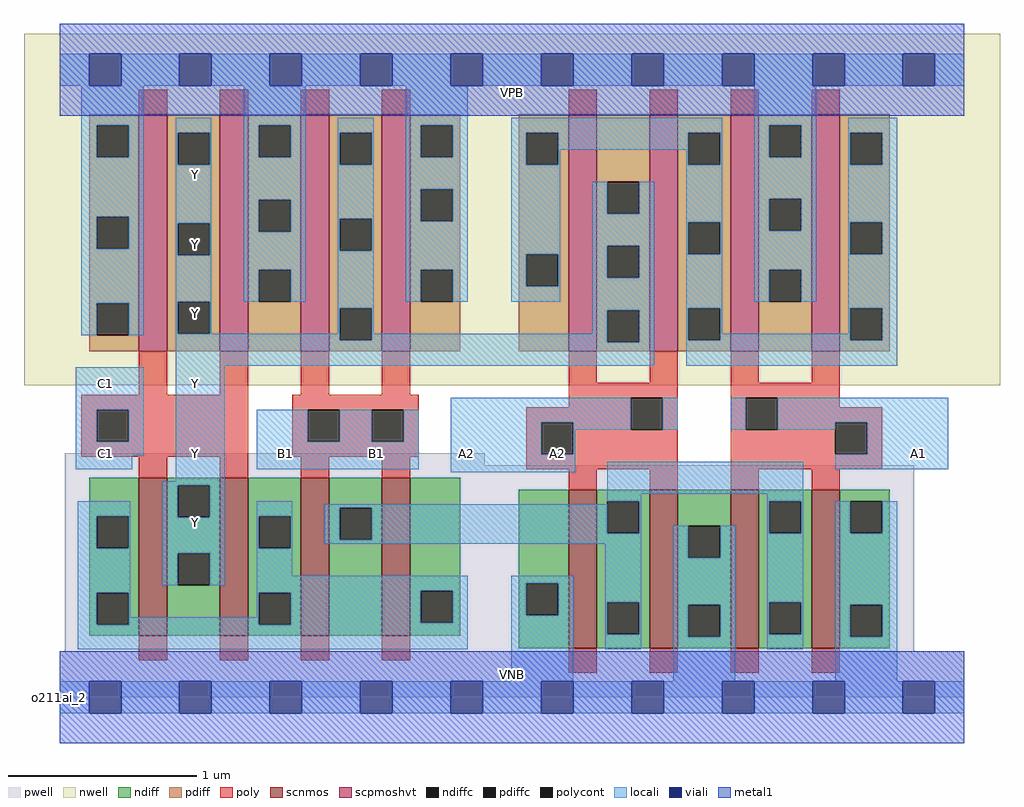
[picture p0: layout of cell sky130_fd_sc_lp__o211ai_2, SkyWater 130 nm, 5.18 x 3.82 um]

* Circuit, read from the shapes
.subckt sky130_fd_sc_lp__o211ai_2 A1 A2 B1 C1 VGND VNB VPB VPWR Y
XM1 Y C1 n1 VNB sky130_fd_pr__nfet_01v8 w=0.84 l=0.15 m=2
XM2 n2 B1 n1 VNB sky130_fd_pr__nfet_01v8 w=0.84 l=0.15 m=2
XM3 n2 A2 VGND VNB sky130_fd_pr__nfet_01v8 w=0.84 l=0.15 m=2
XM4 n2 A1 VGND VNB sky130_fd_pr__nfet_01v8 w=0.84 l=0.15 m=2
XM5 Y C1 VPWR VPB sky130_fd_pr__pfet_01v8_hvt w=1.26 l=0.15 m=2
XM6 Y B1 VPWR VPB sky130_fd_pr__pfet_01v8_hvt w=1.26 l=0.15 m=2
XM7 Y A2 n3 VPB sky130_fd_pr__pfet_01v8_hvt w=1.26 l=0.15 m=2
XM8 VPWR A1 n3 VPB sky130_fd_pr__pfet_01v8_hvt w=1.26 l=0.15 m=2
.ends

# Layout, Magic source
magic
tech sky130A
magscale 1 2
<< nwell >>
rect -38 331 998 704
<< pwell >>
rect 5 246 451 259
rect 5 49 907 246
rect 0 0 960 49
<< scnmos >>
rect 84 65 114 233
rect 170 65 200 233
rect 256 65 286 233
rect 342 65 372 233
rect 540 52 570 220
rect 626 52 656 220
rect 712 52 742 220
rect 798 52 828 220
<< scpmoshvt >>
rect 84 367 114 619
rect 170 367 200 619
rect 256 367 286 619
rect 342 367 372 619
rect 540 367 570 619
rect 626 367 656 619
rect 712 367 742 619
rect 798 367 828 619
<< ndiff >>
rect 31 192 84 233
rect 31 158 39 192
rect 73 158 84 192
rect 31 111 84 158
rect 31 77 39 111
rect 73 77 84 111
rect 31 65 84 77
rect 114 225 170 233
rect 114 191 125 225
rect 159 191 170 225
rect 114 153 170 191
rect 114 119 125 153
rect 159 119 170 153
rect 114 65 170 119
rect 200 192 256 233
rect 200 158 211 192
rect 245 158 256 192
rect 200 111 256 158
rect 200 77 211 111
rect 245 77 256 111
rect 200 65 256 77
rect 286 201 342 233
rect 286 167 297 201
rect 331 167 342 201
rect 286 65 342 167
rect 372 113 425 233
rect 372 79 383 113
rect 417 79 425 113
rect 372 65 425 79
rect 487 121 540 220
rect 487 87 495 121
rect 529 87 540 121
rect 487 52 540 87
rect 570 208 626 220
rect 570 174 581 208
rect 615 174 626 208
rect 570 101 626 174
rect 570 67 581 101
rect 615 67 626 101
rect 570 52 626 67
rect 656 182 712 220
rect 656 148 667 182
rect 701 148 712 182
rect 656 98 712 148
rect 656 64 667 98
rect 701 64 712 98
rect 656 52 712 64
rect 742 208 798 220
rect 742 174 753 208
rect 787 174 798 208
rect 742 101 798 174
rect 742 67 753 101
rect 787 67 798 101
rect 742 52 798 67
rect 828 208 881 220
rect 828 174 839 208
rect 873 174 881 208
rect 828 98 881 174
rect 828 64 839 98
rect 873 64 881 98
rect 828 52 881 64
<< pdiff >>
rect 31 607 84 619
rect 31 573 39 607
rect 73 573 84 607
rect 31 510 84 573
rect 31 476 39 510
rect 73 476 84 510
rect 31 418 84 476
rect 31 384 39 418
rect 73 384 84 418
rect 31 367 84 384
rect 114 599 170 619
rect 114 565 125 599
rect 159 565 170 599
rect 114 503 170 565
rect 114 469 125 503
rect 159 469 170 503
rect 114 420 170 469
rect 114 386 125 420
rect 159 386 170 420
rect 114 367 170 386
rect 200 607 256 619
rect 200 573 211 607
rect 245 573 256 607
rect 200 528 256 573
rect 200 494 211 528
rect 245 494 256 528
rect 200 454 256 494
rect 200 420 211 454
rect 245 420 256 454
rect 200 367 256 420
rect 286 599 342 619
rect 286 565 297 599
rect 331 565 342 599
rect 286 508 342 565
rect 286 474 297 508
rect 331 474 342 508
rect 286 413 342 474
rect 286 379 297 413
rect 331 379 342 413
rect 286 367 342 379
rect 372 607 425 619
rect 372 573 383 607
rect 417 573 425 607
rect 372 539 425 573
rect 372 505 383 539
rect 417 505 425 539
rect 372 454 425 505
rect 372 420 383 454
rect 417 420 425 454
rect 372 367 425 420
rect 487 599 540 619
rect 487 565 495 599
rect 529 565 540 599
rect 487 470 540 565
rect 487 436 495 470
rect 529 436 540 470
rect 487 367 540 436
rect 570 547 626 619
rect 570 513 581 547
rect 615 513 626 547
rect 570 479 626 513
rect 570 445 581 479
rect 615 445 626 479
rect 570 411 626 445
rect 570 377 581 411
rect 615 377 626 411
rect 570 367 626 377
rect 656 599 712 619
rect 656 565 667 599
rect 701 565 712 599
rect 656 504 712 565
rect 656 470 667 504
rect 701 470 712 504
rect 656 413 712 470
rect 656 379 667 413
rect 701 379 712 413
rect 656 367 712 379
rect 742 607 798 619
rect 742 573 753 607
rect 787 573 798 607
rect 742 529 798 573
rect 742 495 753 529
rect 787 495 798 529
rect 742 454 798 495
rect 742 420 753 454
rect 787 420 798 454
rect 742 367 798 420
rect 828 599 881 619
rect 828 565 839 599
rect 873 565 881 599
rect 828 504 881 565
rect 828 470 839 504
rect 873 470 881 504
rect 828 413 881 470
rect 828 379 839 413
rect 873 379 881 413
rect 828 367 881 379
<< ndiffc >>
rect 39 158 73 192
rect 39 77 73 111
rect 125 191 159 225
rect 125 119 159 153
rect 211 158 245 192
rect 211 77 245 111
rect 297 167 331 201
rect 383 79 417 113
rect 495 87 529 121
rect 581 174 615 208
rect 581 67 615 101
rect 667 148 701 182
rect 667 64 701 98
rect 753 174 787 208
rect 753 67 787 101
rect 839 174 873 208
rect 839 64 873 98
<< pdiffc >>
rect 39 573 73 607
rect 39 476 73 510
rect 39 384 73 418
rect 125 565 159 599
rect 125 469 159 503
rect 125 386 159 420
rect 211 573 245 607
rect 211 494 245 528
rect 211 420 245 454
rect 297 565 331 599
rect 297 474 331 508
rect 297 379 331 413
rect 383 573 417 607
rect 383 505 417 539
rect 383 420 417 454
rect 495 565 529 599
rect 495 436 529 470
rect 581 513 615 547
rect 581 445 615 479
rect 581 377 615 411
rect 667 565 701 599
rect 667 470 701 504
rect 667 379 701 413
rect 753 573 787 607
rect 753 495 787 529
rect 753 420 787 454
rect 839 565 873 599
rect 839 470 873 504
rect 839 379 873 413
<< poly >>
rect 84 619 114 645
rect 170 619 200 645
rect 256 619 286 645
rect 342 619 372 645
rect 540 619 570 645
rect 626 619 656 645
rect 712 619 742 645
rect 798 619 828 645
rect 84 321 114 367
rect 170 321 200 367
rect 256 321 286 367
rect 342 321 372 367
rect 540 334 570 367
rect 626 334 656 367
rect 23 305 200 321
rect 23 271 39 305
rect 73 271 200 305
rect 23 255 200 271
rect 247 305 381 321
rect 540 318 656 334
rect 540 308 606 318
rect 247 271 263 305
rect 297 271 331 305
rect 365 271 381 305
rect 247 255 381 271
rect 495 292 606 308
rect 495 258 511 292
rect 545 284 606 292
rect 640 284 656 318
rect 545 258 656 284
rect 84 233 114 255
rect 170 233 200 255
rect 256 233 286 255
rect 342 233 372 255
rect 495 242 656 258
rect 540 220 570 242
rect 626 220 656 242
rect 712 334 742 367
rect 798 334 828 367
rect 712 318 828 334
rect 712 284 728 318
rect 762 308 828 318
rect 762 292 873 308
rect 762 284 823 292
rect 712 258 823 284
rect 857 258 873 292
rect 712 242 873 258
rect 712 220 742 242
rect 798 220 828 242
rect 84 39 114 65
rect 170 39 200 65
rect 256 39 286 65
rect 342 39 372 65
rect 540 26 570 52
rect 626 26 656 52
rect 712 26 742 52
rect 798 26 828 52
<< polycont >>
rect 39 271 73 305
rect 263 271 297 305
rect 331 271 365 305
rect 511 258 545 292
rect 606 284 640 318
rect 728 284 762 318
rect 823 258 857 292
<< locali >>
rect 0 649 31 683
rect 65 649 127 683
rect 161 649 223 683
rect 257 649 319 683
rect 353 649 415 683
rect 449 649 511 683
rect 545 649 607 683
rect 641 649 703 683
rect 737 649 799 683
rect 833 649 895 683
rect 929 649 960 683
rect 23 607 89 649
rect 23 573 39 607
rect 73 573 89 607
rect 23 510 89 573
rect 23 476 39 510
rect 73 476 89 510
rect 23 418 89 476
rect 23 384 39 418
rect 73 384 89 418
rect 123 599 161 615
rect 123 565 125 599
rect 159 565 161 599
rect 123 503 161 565
rect 123 469 125 503
rect 159 469 161 503
rect 123 420 161 469
rect 195 607 261 649
rect 195 573 211 607
rect 245 573 261 607
rect 195 528 261 573
rect 195 494 211 528
rect 245 494 261 528
rect 195 454 261 494
rect 195 420 211 454
rect 245 420 261 454
rect 295 599 333 615
rect 295 565 297 599
rect 331 565 333 599
rect 295 508 333 565
rect 295 474 297 508
rect 331 474 333 508
rect 123 386 125 420
rect 159 386 161 420
rect 295 413 333 474
rect 367 607 433 649
rect 367 573 383 607
rect 417 573 433 607
rect 367 539 433 573
rect 367 505 383 539
rect 417 505 433 539
rect 367 454 433 505
rect 367 420 383 454
rect 417 420 433 454
rect 479 599 703 615
rect 479 565 495 599
rect 529 581 667 599
rect 529 565 531 581
rect 479 470 531 565
rect 665 565 667 581
rect 701 565 703 599
rect 479 436 495 470
rect 529 436 531 470
rect 479 420 531 436
rect 565 513 581 547
rect 615 513 631 547
rect 565 479 631 513
rect 565 445 581 479
rect 615 445 631 479
rect 295 386 297 413
rect 123 379 297 386
rect 331 386 333 413
rect 565 411 631 445
rect 565 386 581 411
rect 331 379 581 386
rect 123 377 581 379
rect 615 377 631 411
rect 123 352 631 377
rect 665 504 703 565
rect 665 470 667 504
rect 701 470 703 504
rect 665 413 703 470
rect 737 607 803 649
rect 737 573 753 607
rect 787 573 803 607
rect 737 529 803 573
rect 737 495 753 529
rect 787 495 803 529
rect 737 454 803 495
rect 737 420 753 454
rect 787 420 803 454
rect 837 599 889 615
rect 837 565 839 599
rect 873 565 889 599
rect 837 504 889 565
rect 837 470 839 504
rect 873 470 889 504
rect 665 379 667 413
rect 701 386 703 413
rect 837 413 889 470
rect 837 386 839 413
rect 701 379 839 386
rect 873 379 889 413
rect 665 352 889 379
rect 17 305 89 350
rect 17 271 39 305
rect 73 271 89 305
rect 17 257 89 271
rect 17 242 77 257
rect 123 229 175 352
rect 209 271 263 305
rect 297 271 331 305
rect 365 271 381 305
rect 209 242 381 271
rect 415 292 606 318
rect 415 258 511 292
rect 545 284 606 292
rect 640 284 656 318
rect 712 284 728 318
rect 762 292 943 318
rect 762 284 823 292
rect 545 258 547 284
rect 415 239 547 258
rect 857 258 943 292
rect 109 225 175 229
rect 19 192 75 208
rect 19 158 39 192
rect 73 158 75 192
rect 19 111 75 158
rect 109 191 125 225
rect 159 191 175 225
rect 581 216 789 250
rect 823 242 943 258
rect 581 208 617 216
rect 109 153 175 191
rect 109 119 125 153
rect 159 119 175 153
rect 209 192 247 208
rect 209 158 211 192
rect 245 158 247 192
rect 281 201 581 205
rect 281 167 297 201
rect 331 174 581 201
rect 615 174 617 208
rect 751 208 789 216
rect 331 167 617 174
rect 281 163 617 167
rect 209 129 247 158
rect 19 77 39 111
rect 73 85 75 111
rect 209 113 433 129
rect 209 111 383 113
rect 209 85 211 111
rect 73 77 211 85
rect 245 79 383 111
rect 417 79 433 113
rect 245 77 433 79
rect 19 51 433 77
rect 479 121 545 129
rect 479 87 495 121
rect 529 87 545 121
rect 479 17 545 87
rect 579 101 617 163
rect 579 67 581 101
rect 615 67 617 101
rect 579 51 617 67
rect 651 148 667 182
rect 701 148 717 182
rect 651 98 717 148
rect 651 64 667 98
rect 701 64 717 98
rect 651 17 717 64
rect 751 174 753 208
rect 787 174 789 208
rect 751 101 789 174
rect 751 67 753 101
rect 787 67 789 101
rect 751 51 789 67
rect 823 174 839 208
rect 873 174 889 208
rect 823 98 889 174
rect 823 64 839 98
rect 873 64 889 98
rect 823 17 889 64
rect 0 -17 31 17
rect 65 -17 127 17
rect 161 -17 223 17
rect 257 -17 319 17
rect 353 -17 415 17
rect 449 -17 511 17
rect 545 -17 607 17
rect 641 -17 703 17
rect 737 -17 799 17
rect 833 -17 895 17
rect 929 -17 960 17
<< viali >>
rect 31 649 65 683
rect 127 649 161 683
rect 223 649 257 683
rect 319 649 353 683
rect 415 649 449 683
rect 511 649 545 683
rect 607 649 641 683
rect 703 649 737 683
rect 799 649 833 683
rect 895 649 929 683
rect 31 -17 65 17
rect 127 -17 161 17
rect 223 -17 257 17
rect 319 -17 353 17
rect 415 -17 449 17
rect 511 -17 545 17
rect 607 -17 641 17
rect 703 -17 737 17
rect 799 -17 833 17
rect 895 -17 929 17
<< metal1 >>
rect 0 683 960 715
rect 0 649 31 683
rect 65 649 127 683
rect 161 649 223 683
rect 257 649 319 683
rect 353 649 415 683
rect 449 649 511 683
rect 545 649 607 683
rect 641 649 703 683
rect 737 649 799 683
rect 833 649 895 683
rect 929 649 960 683
rect 0 617 960 649
rect 0 17 960 49
rect 0 -17 31 17
rect 65 -17 127 17
rect 161 -17 223 17
rect 257 -17 319 17
rect 353 -17 415 17
rect 449 -17 511 17
rect 545 -17 607 17
rect 641 -17 703 17
rect 737 -17 799 17
rect 833 -17 895 17
rect 929 -17 960 17
rect 0 -49 960 -17
<< labels >>
flabel pwell s 0 0 960 49 0 FreeSans 200 0 0 0 VNB
port 6 nsew ground bidirectional
flabel nwell s 0 617 960 666 0 FreeSans 200 0 0 0 VPB
port 7 nsew power bidirectional
rlabel comment s 0 0 0 0 4 o211ai_2
flabel metal1 s 0 617 960 666 0 FreeSans 340 0 0 0 VPWR
port 8 nsew power bidirectional
flabel metal1 s 0 0 960 49 0 FreeSans 340 0 0 0 VGND
port 5 nsew ground bidirectional
flabel locali s 127 168 161 202 0 FreeSans 340 0 0 0 Y
port 9 nsew signal output
flabel locali s 127 242 161 276 0 FreeSans 340 0 0 0 Y
port 9 nsew signal output
flabel locali s 127 316 161 350 0 FreeSans 340 0 0 0 Y
port 9 nsew signal output
flabel locali s 127 390 161 424 0 FreeSans 340 0 0 0 Y
port 9 nsew signal output
flabel locali s 127 464 161 498 0 FreeSans 340 0 0 0 Y
port 9 nsew signal output
flabel locali s 127 538 161 572 0 FreeSans 340 0 0 0 Y
port 9 nsew signal output
flabel locali s 895 242 929 276 0 FreeSans 340 0 0 0 A1
port 1 nsew signal input
flabel locali s 415 242 449 276 0 FreeSans 340 0 0 0 A2
port 2 nsew signal input
flabel locali s 511 242 545 276 0 FreeSans 340 0 0 0 A2
port 2 nsew signal input
flabel locali s 223 242 257 276 0 FreeSans 340 0 0 0 B1
port 3 nsew signal input
flabel locali s 319 242 353 276 0 FreeSans 340 0 0 0 B1
port 3 nsew signal input
flabel locali s 31 242 65 276 0 FreeSans 340 0 0 0 C1
port 4 nsew signal input
flabel locali s 31 316 65 350 0 FreeSans 340 0 0 0 C1
port 4 nsew signal input
<< properties >>
string LEFsite unit
string LEFclass CORE
string FIXED_BBOX 0 0 960 666
string GDS_FILE $PDKPATH/libs.ref/sky130_fd_sc_lp/gds/sky130_fd_sc_lp.gds
string LEFsymmetry X Y R90
string GDS_END 6903808
string GDS_START 6894108
<< end >>
